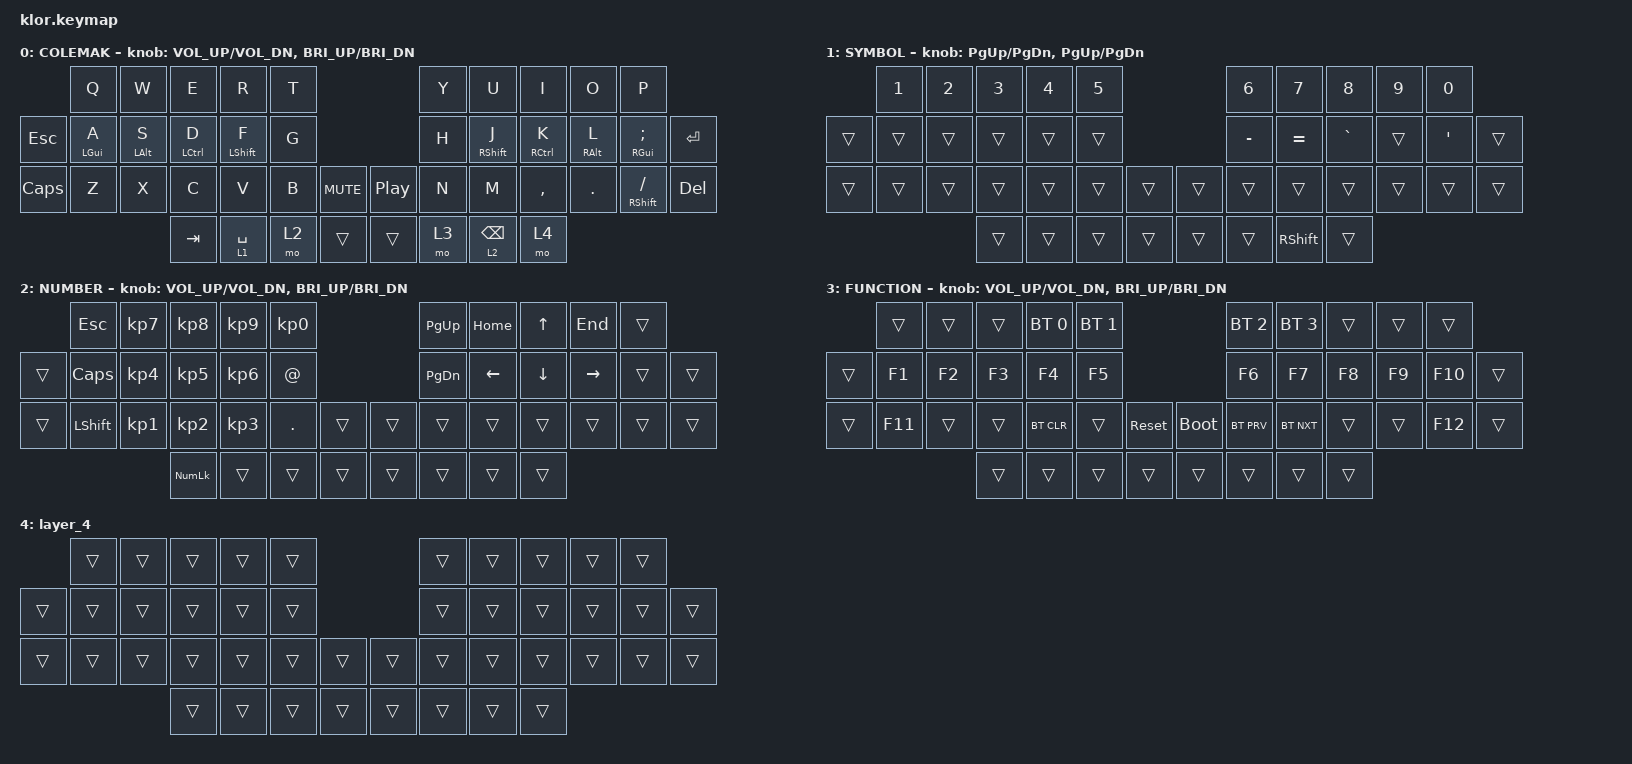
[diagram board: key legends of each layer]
#include <behaviors.dtsi>
#include <dt-bindings/zmk/bt.h>
#include <dt-bindings/zmk/keys.h>

&lt { quick-tap-ms = <200>; };

// keep it high until you're familiar with keyboard to avoid misclicks
// later lower it to <= 200

&mt { tapping-term-ms = <350>; };

// DO NOT MAKE LAYER LABELS LARGER

/ {
    combos {
        compatible = "zmk,combos";

        lbkt {
            bindings = <&kp LEFT_BRACKET>;
            key-positions = <2 3>;
        };

        rbkt {
            bindings = <&kp RIGHT_BRACKET>;
            key-positions = <6 7>;
        };

        lpar {
            bindings = <&kp LEFT_PARENTHESIS>;
            key-positions = <13 14>;
        };

        rpar {
            bindings = <&kp RIGHT_PARENTHESIS>;
            key-positions = <17 18>;
        };

        lbrc {
            bindings = <&kp LEFT_BRACE>;
            key-positions = <25 26>;
        };

        rbrc {
            bindings = <&kp RIGHT_BRACE>;
            key-positions = <31 32>;
        };

        bak {
            bindings = <&kp BACKSLASH>;
            key-positions = <4 5>;
        };

        pipe {
            bindings = <&kp PIPE>;
            key-positions = <15 16>;
        };

        enter {
            bindings = <&kp ENTER>;
            key-positions = <19 20>;
        };
    };

    behaviors {
        hm: hm {
            compatible = "zmk,behavior-hold-tap";
            label = "HM";
            bindings = <&kp>, <&kp>;

            #binding-cells = <2>;
            tapping-term-ms = <200>;
            flavor = "tap-preferred";
        };
    };

    keymap {
        compatible = "zmk,keymap";

        // ▄▄▄▄▄▄▄▄▄▄▄▄▄▄▄▄▄▄▄▄▄▄▄▄▄▄▄▄▄▄▄▄▄▄▄▄▄▄▄▄▄▄▄▄▄▄▄▄▄▄▄▄▄▄▄▄▄▄▄▄▄▄▄▄▄▄▄▄▄▄▄▄▄▄▄▄▄▄▄▄▄▄▄▄▄▄▄▄▄▄▄▄▄▄▄▄▄▄▄▄▄▄▄▄▄▄▄▄▄▄▄▄▄▄▄▄▄▄▄▄▄▄▄▄▄▄▄▄▄▄▄▄▄▄▄▄▄▄▄▄▄▄

        colemak {
            // ┌───────────────────────────────────────────────────────────┐

            display-name = "COLEMAK";

            // └───────────────────────────────────────────────────────────┘
            /*           ┌─────────┬─────────┬─────────┬─────────┬─────────┐                               ┌─────────┬─────────┬─────────┬─────────┬─────────┐
             │    Q    │    W    │    F    │    P    │    G    │                               │    J    │    L    │    U    │    Y    │    ;    │   
   ┌─────────┼─────────┼─────────┼─────────┼─────────┼─────────┤                               ├─────────┼─────────┼─────────┼─────────┼─────────┼─────────┐
   │   TAB   │    A    │    R    │    S    │    T    │    D    │                               │    H    │    N    │    E    │    I    │    O    │    "    │
   ├─────────┼─────────┼─────────┼─────────┼─────────┼─────────┤╭────────╮           ╭────────╮├─────────┼─────────┼─────────┼─────────┼─────────┼─────────┤
   │  CAP L  │    Z    │    X    │    C    │    V    │    B    ││  MUTE  │           │PLY/PSE ││    K    │    M    │    ,    │    .    │    /    │    \    │
   └─────────┴─────────┴─────────┼─────────┼─────────┼─────────┼╰────────╯           ╰────────╯┼─────────┼─────────┼─────────┼─────────┴─────────┴─────────┘
                                 │  CTRL   │  LOWER  │  TAB/2  │   ALT   │           │ CMD/WIN │  SPC/3  │  ENTER  │  BSPCE  │  
                                 └─────────┴─────────┴─────────┴─────────┘           └─────────┴─────────┴─────────┴─────────┘ */

            bindings = <
              &kp Q           &kp W           &kp E        &kp R             &kp T                        &kp Y  &kp U              &kp I        &kp O            &kp P
&kp ESC       &hm LEFT_GUI A  &hm LEFT_ALT S  &hm LCTRL D  &hm LEFT_SHIFT F  &kp G                        &kp H  &hm RIGHT_SHIFT J  &hm RCTRL K  &hm RIGHT_ALT L  &hm RGUI SEMICOLON  &kp ENTER
&kp CAPSLOCK  &kp Z           &kp X           &kp C        &kp V             &kp B  &kp C_MUTE  &kp C_PP  &kp N  &kp M              &kp COMMA    &kp PERIOD       &mt RSHIFT FSLH     &kp DELETE
                                              &kp TAB      &lt 1 SPACE       &mo 2  &trans      &trans    &mo 3  &lt 2 BACKSPACE    &mo 4
            >;

            sensor-bindings = <&inc_dec_kp C_VOL_UP C_VOL_DN &inc_dec_kp C_BRI_UP C_BRI_DN>;
        };

        // ▄▄▄▄▄▄▄▄▄▄▄▄▄▄▄▄▄▄▄▄▄▄▄▄▄▄▄▄▄▄▄▄▄▄▄▄▄▄▄▄▄▄▄▄▄▄▄▄▄▄▄▄▄▄▄▄▄▄▄▄▄▄▄▄▄▄▄▄▄▄▄▄▄▄▄▄▄▄▄▄▄▄▄▄▄▄▄▄▄▄▄▄▄▄▄▄▄▄▄▄▄▄▄▄▄▄▄▄▄▄▄▄▄▄▄▄▄▄▄▄▄▄▄▄▄▄▄▄▄▄▄▄▄▄▄▄▄▄▄▄▄▄ 

        sym {
            display-name = "SYMBOL";
            bindings = <
        &kp N1  &kp NUMBER_2  &kp NUMBER_3  &kp NUMBER_4  &kp N5                  &kp NUMBER_6  &kp N7      &kp N8     &kp N9  &kp N0
&trans  &trans  &trans        &trans        &trans        &trans                  &kp MINUS     &kp EQUAL   &kp GRAVE  &trans  &kp SQT  &trans
&trans  &trans  &trans        &trans        &trans        &trans  &trans  &trans  &trans        &trans      &trans     &trans  &trans   &trans
                              &trans        &trans        &trans  &trans  &trans  &trans        &kp RSHIFT  &trans
            >;

            sensor-bindings = <&inc_dec_kp PG_UP PG_DN &inc_dec_kp PG_UP PG_DN>;
        };

        num {
            display-name = "NUMBER";
            bindings = <
        &kp ESC    &kp KP_NUMBER_7  &kp KP_NUMBER_8  &kp KP_NUMBER_9  &kp KP_NUMBER_0                  &kp PAGE_UP    &kp HOME  &kp UP_ARROW    &kp END    &trans
&trans  &kp CAPS   &kp KP_NUMBER_4  &kp KP_NUMBER_5  &kp KP_NUMBER_6  &kp AT_SIGN                      &kp PAGE_DOWN  &kp LEFT  &kp DOWN_ARROW  &kp RIGHT  &trans  &trans
&trans  &kp LSHFT  &kp KP_NUMBER_1  &kp KP_NUMBER_2  &kp KP_NUMBER_3  &kp DOT          &trans  &trans  &trans         &trans    &trans          &trans     &trans  &trans
                                    &kp KP_NUMLOCK   &trans           &trans           &trans  &trans  &trans         &trans    &trans
            >;

            sensor-bindings = <&inc_dec_kp C_VOL_UP C_VOL_DN &inc_dec_kp C_BRI_UP C_BRI_DN>;
        };

        fun {
            display-name = "FUNCTION";
            bindings = <
        &trans   &trans  &trans  &bt BT_SEL 0  &bt BT_SEL 1                           &bt BT_SEL 2  &bt BT_SEL 3  &trans  &trans  &trans
&trans  &kp F1   &kp F2  &kp F3  &kp F4        &kp F5                                 &kp F6        &kp F7        &kp F8  &kp F9  &kp F10  &trans
&trans  &kp F11  &trans  &trans  &bt BT_CLR    &trans        &sys_reset  &bootloader  &bt BT_PRV    &bt BT_NXT    &trans  &trans  &kp F12  &trans
                         &trans  &trans        &trans        &trans      &trans       &trans        &trans        &trans
            >;

            sensor-bindings = <&inc_dec_kp C_VOL_UP C_VOL_DN &inc_dec_kp C_BRI_UP C_BRI_DN>;
        };

        layer_4 {
            bindings = <
        &trans  &trans  &trans  &trans  &trans                  &trans  &trans  &trans  &trans  &trans
&trans  &trans  &trans  &trans  &trans  &trans                  &trans  &trans  &trans  &trans  &trans  &trans
&trans  &trans  &trans  &trans  &trans  &trans  &trans  &trans  &trans  &trans  &trans  &trans  &trans  &trans
                        &trans  &trans  &trans  &trans  &trans  &trans  &trans  &trans
            >;
        };
    };
};
